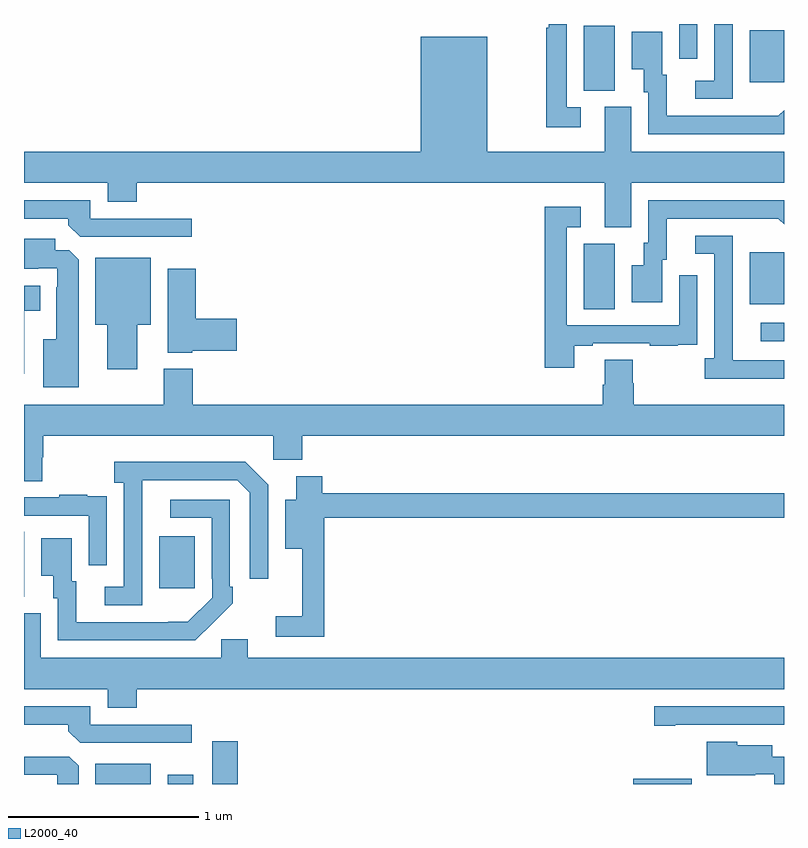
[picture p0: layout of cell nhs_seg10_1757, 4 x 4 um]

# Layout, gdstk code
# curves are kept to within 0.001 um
import gdstk
lib = gdstk.Library(unit=1e-6, precision=1e-09)
def R(c, l, rs):  # rectangles x0, y0, x1, y1
    for r in rs: c.add(gdstk.rectangle(r[:2], r[2:], *l))
def P(c, l, *ps):  # polygons
    for p in ps: c.add(gdstk.Polygon(p, *l))
L2000_40 = (2000, 40)

nhs_seg10_1757 = lib.new_cell('nhs_seg10_1757')
R(nhs_seg10_1757, L2000_40, [(203.375,1282.5,203.668,1282.606), (203.756,1282.5,203.89,1282.549), (203.99,1282.5,204.125,1282.726), (206.207,1282.5,206.515,1282.528), (203,1283.485,203.002,1283.828), (203.711,1283.529,203.899,1283.803), (206.877,1284.831,207,1284.927), (205.946,1285,206.11,1285.344), (206.819,1285.025,207,1285.3), (205.946,1286.149,206.11,1286.492), (206.819,1286.193,207,1286.467), (206.448,1286.316,206.544,1286.5)])
P(nhs_seg10_1757, L2000_40, [(205.93,1286.061),(205.857,1286.061),(205.857,1286.5),(205.761,1286.5),(205.761,1286.48),(205.749,1286.48),(205.749,1285.956),(205.93,1285.956)],
  [(206.73,1286.5),(206.634,1286.5),(206.634,1286.202),(206.532,1286.202),(206.532,1286.106),(206.73,1286.106)],
  [(207,1286.046),(206.971,1286.017),(206.383,1286.016),(206.383,1286.232),(206.359,1286.232),(206.359,1286.458),(206.198,1286.458),(206.198,1286.261),(206.261,1286.261),(206.261,1286.142),(206.286,1286.142),(206.286,1285.92),(207,1285.92)],
  [(206.197,1285.664),(207,1285.664),(207,1285.828),(206.197,1285.828),(206.197,1286.064),(206.057,1286.064),(206.057,1285.828),(205.438,1285.828),(205.438,1286.434),(205.088,1286.434),(205.088,1285.828),(203,1285.828),(203,1285.664),(203.441,1285.664),(203.441,1285.565),(203.594,1285.565),(203.594,1285.664),(206.057,1285.664),(206.057,1285.429),(206.197,1285.429)],
  [(206.359,1285.26),(206.383,1285.26),(206.383,1285.476),(206.971,1285.476),(207,1285.447),(207,1285.572),(206.286,1285.572),(206.286,1285.35),(206.261,1285.35),(206.261,1285.231),(206.198,1285.231),(206.198,1285.035),(206.359,1285.035)],
  [(203.884,1285.476),(203.349,1285.476),(203.349,1285.572),(203,1285.572),(203,1285.476),(203.234,1285.476),(203.234,1285.442),(203.295,1285.38),(203.884,1285.38)],
  [(205.897,1284.807),(205.993,1284.807),(205.993,1284.819),(206.293,1284.819),(206.293,1284.807),(206.441,1284.807),(206.441,1284.813),(206.543,1284.813),(206.543,1284.922),(206.544,1284.922),(206.544,1285.177),(206.448,1285.177),(206.448,1284.915),(205.857,1284.915),(205.857,1285.431),(205.93,1285.431),(205.93,1285.537),(205.741,1285.537),(205.741,1284.69),(205.897,1284.69)],
  [(207,1284.729),(206.731,1284.729),(206.731,1284.929),(206.73,1284.929),(206.73,1285.386),(206.532,1285.386),(206.532,1285.29),(206.634,1285.29),(206.634,1284.742),(206.583,1284.742),(206.583,1284.632),(207,1284.632)],
  [(203.287,1285.259),(203.238,1285.308),(203.164,1285.308),(203.164,1285.369),(203,1285.369),(203,1285.211),(203.075,1285.211),(203.075,1285.215),(203.175,1285.215),(203.175,1285.115),(203.171,1285.115),(203.171,1284.841),(203.102,1284.841),(203.102,1284.587),(203.287,1284.587)],
  [(203.596,1284.917),(203.668,1284.917),(203.668,1285.27),(203.375,1285.27),(203.375,1284.917),(203.438,1284.917),(203.438,1284.684),(203.596,1284.684)],
  [(203.886,1284.779),(204.121,1284.779),(204.121,1284.95),(203.903,1284.95),(203.903,1285.213),(203.756,1285.213),(203.756,1284.77),(203.886,1284.77)],
  [(203.002,1284.992),(203.086,1284.992),(203.086,1285.123),(203,1285.123),(203,1284.66),(203.002,1284.66)],
  [(203.097,1284.219),(203.102,1284.219),(203.102,1284.332),(204.312,1284.332),(204.312,1284.206),(204.464,1284.206),(204.464,1284.332),(207,1284.332),(207,1284.496),(206.21,1284.496),(206.21,1284.609),(206.205,1284.609),(206.205,1284.734),(206.057,1284.734),(206.057,1284.602),(206.045,1284.602),(206.045,1284.496),(203.888,1284.496),(203.888,1284.685),(203.735,1284.685),(203.735,1284.496),(203,1284.496),(203,1284.094),(203.097,1284.094)],
  [(203.622,1283.899),(203.623,1284.099),(204.123,1284.099),(204.189,1284.033),(204.189,1283.58),(204.285,1283.58),(204.285,1284.075),(204.164,1284.196),(203.475,1284.196),(203.475,1284.086),(203.526,1284.086),(203.526,1283.538),(203.424,1283.538),(203.424,1283.442),(203.622,1283.442)],
  [(204.581,1283.902),(207,1283.902),(207,1284.031),(204.569,1284.031),(204.569,1284.121),(204.434,1284.121),(204.434,1283.995),(204.374,1283.995),(204.374,1283.738),(204.464,1283.738),(204.464,1283.383),(204.324,1283.383),(204.324,1283.274),(204.581,1283.274)],
  [(203.436,1283.906),(203.435,1283.906),(203.435,1284.015),(203.333,1284.015),(203.333,1284.022),(203.185,1284.022),(203.185,1284.009),(203,1284.009),(203,1283.913),(203.34,1283.913),(203.34,1283.652),(203.436,1283.652)],
  [(203.993,1283.347),(203.994,1283.346),(204.099,1283.451),(204.099,1283.539),(204.084,1283.539),(204.084,1283.997),(203.769,1283.997),(203.769,1283.901),(203.988,1283.901),(203.988,1283.581),(203.991,1283.581),(203.991,1283.481),(203.863,1283.353),(203.275,1283.352),(203.275,1283.568),(203.251,1283.568),(203.251,1283.794),(203.09,1283.794),(203.09,1283.597),(203.153,1283.597),(203.153,1283.478),(203.178,1283.478),(203.178,1283.256),(203.902,1283.256)],
  [(203.594,1283),(207,1283),(207,1283.164),(204.178,1283.164),(204.178,1283.262),(204.039,1283.262),(204.039,1283.164),(203.089,1283.164),(203.089,1283.4),(203,1283.4),(203,1283),(203.441,1283),(203.441,1282.901),(203.594,1282.901)],
  [(203.884,1282.812),(203.349,1282.812),(203.349,1282.908),(203,1282.908),(203,1282.812),(203.234,1282.812),(203.234,1282.778),(203.295,1282.716),(203.884,1282.716)],
  [(206.428,1282.812),(207,1282.812),(207,1282.908),(206.316,1282.908),(206.316,1282.807),(206.428,1282.807)],
  [(207,1282.644),(206.938,1282.644),(206.938,1282.705),(206.754,1282.705),(206.754,1282.723),(206.594,1282.723),(206.594,1282.547),(206.849,1282.547),(206.849,1282.551),(206.949,1282.551),(206.949,1282.5),(207,1282.5)],
  [(203.287,1282.595),(203.238,1282.644),(203,1282.644),(203,1282.548),(203.175,1282.548),(203.175,1282.5),(203.287,1282.5)])

lib.write_gds('nhs_seg10_1757.gds')
